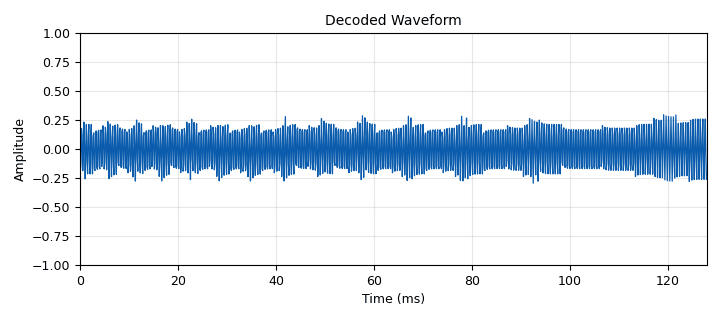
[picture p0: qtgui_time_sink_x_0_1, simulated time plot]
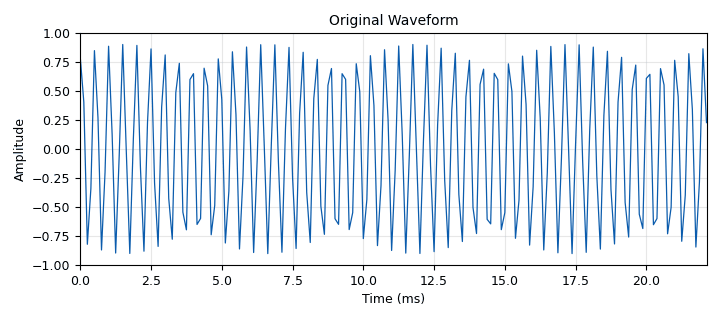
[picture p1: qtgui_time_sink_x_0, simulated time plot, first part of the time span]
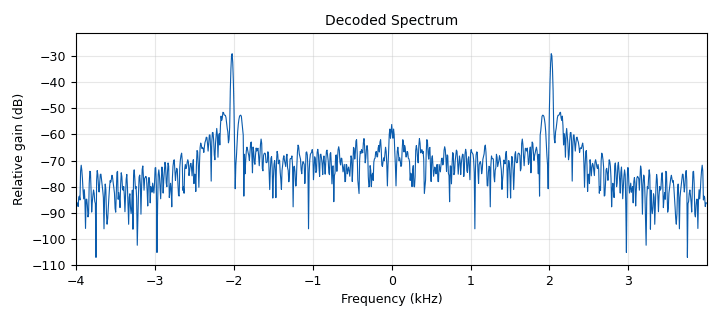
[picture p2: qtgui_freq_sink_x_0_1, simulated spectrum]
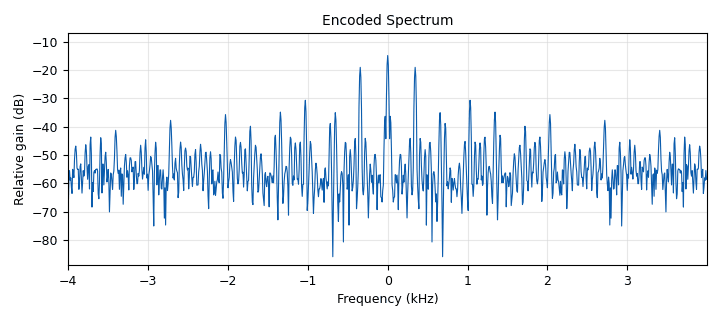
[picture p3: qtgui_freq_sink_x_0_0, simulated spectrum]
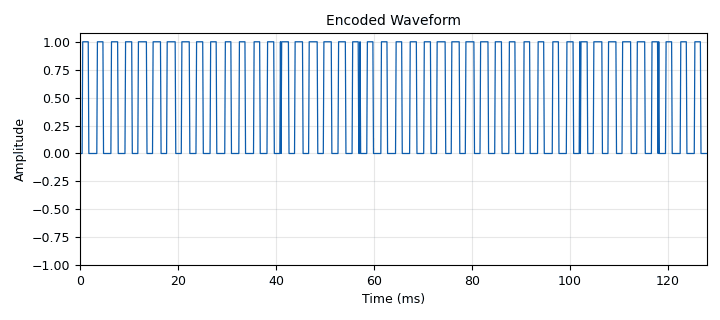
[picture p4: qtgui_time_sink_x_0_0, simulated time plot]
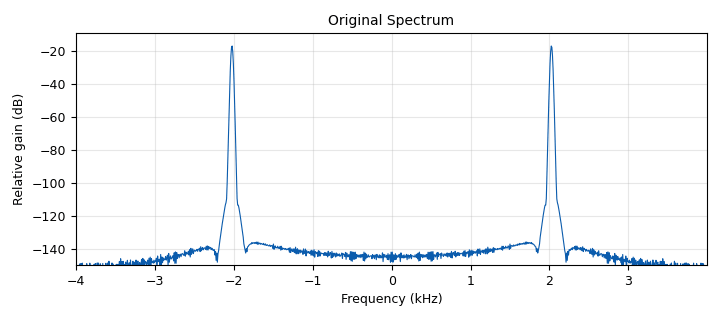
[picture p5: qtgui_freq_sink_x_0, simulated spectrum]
<?xml version='1.0' encoding='utf-8'?>
<flow_graph>
<block>
<key>variable</key>
<param><key>id</key><value>resample</value></param>
<param><key>value</key><value>8</value></param>
</block>
<block>
<key>variable</key>
<param><key>id</key><value>audio_rate</value></param>
<param><key>value</key><value>8000</value></param>
</block>
<block>
<key>variable</key>
<param><key>id</key><value>bw</value></param>
<param><key>value</key><value>0.5</value></param>
</block>
<block>
<key>import</key>
<param><key>id</key><value>import_0</value></param>
<param><key>import</key><value>import math</value></param>
</block>
<block>
<key>qtgui_tab_widget</key>
<param><key>id</key><value>displays</value></param>
<param><key>num_tabs</key><value>3</value></param>
<param><key>label0</key><value>Original</value></param>
<param><key>label1</key><value>Encoded</value></param>
<param><key>label2</key><value>Decoded</value></param>
</block>
<block>
<key>options</key>
<param><key>id</key><value>cvsd_sweep</value></param>
<param><key>title</key><value>CVSD Vocoder Test</value></param>
<param><key>generate_options</key><value>qt_gui</value></param>
<param><key>category</key><value>Custom</value></param>
</block>
<block>
<key>qtgui_time_sink_x</key>
<param><key>id</key><value>qtgui_time_sink_x_0_1</value></param>
<param><key>type</key><value>float</value></param>
<param><key>name</key><value>Decoded Waveform</value></param>
<param><key>size</key><value>1024</value></param>
<param><key>srate</key><value>audio_rate</value></param>
<param><key>gui_hint</key><value>displays@2:1,0,1,1</value></param>
<param><key>label1</key><value></value></param>
<param><key>color1</key><value>"blue"</value></param>
</block>
<block>
<key>vocoder_cvsd_decode_bf</key>
<param><key>id</key><value>vocoder_cvsd_decode_bf_0</value></param>
<param><key>resample</key><value>resample</value></param>
<param><key>bw</key><value>bw</value></param>
</block>
<block>
<key>qtgui_time_sink_x</key>
<param><key>id</key><value>qtgui_time_sink_x_0</value></param>
<param><key>type</key><value>float</value></param>
<param><key>name</key><value>Original Waveform</value></param>
<param><key>size</key><value>1024</value></param>
<param><key>srate</key><value>audio_rate</value></param>
<param><key>gui_hint</key><value>displays@0:1,0,1,1</value></param>
<param><key>label1</key><value></value></param>
<param><key>color1</key><value>"blue"</value></param>
</block>
<block>
<key>qtgui_freq_sink_x</key>
<param><key>id</key><value>qtgui_freq_sink_x_0_1</value></param>
<param><key>type</key><value>float</value></param>
<param><key>name</key><value>Decoded Spectrum</value></param>
<param><key>fftsize</key><value>1024</value></param>
<param><key>wintype</key><value>firdes.WIN_BLACKMAN_hARRIS</value></param>
<param><key>fc</key><value>0</value></param>
<param><key>bw</key><value>audio_rate</value></param>
<param><key>autoscale</key><value>True</value></param>
<param><key>gui_hint</key><value>displays@2:0,0,1,1</value></param>
</block>
<block>
<key>vocoder_cvsd_encode_fb</key>
<param><key>id</key><value>enc</value></param>
<param><key>resample</key><value>resample</value></param>
<param><key>bw</key><value>bw</value></param>
</block>
<block>
<key>blocks_packed_to_unpacked_xx</key>
<param><key>id</key><value>p2u</value></param>
<param><key>type</key><value>byte</value></param>
<param><key>bits_per_chunk</key><value>1</value></param>
<param><key>endianness</key><value>gr.GR_MSB_FIRST</value></param>
</block>
<block>
<key>blocks_throttle</key>
<param><key>id</key><value>throttle</value></param>
<param><key>type</key><value>float</value></param>
<param><key>samples_per_second</key><value>audio_rate</value></param>
</block>
<block>
<key>analog_sig_source_x</key>
<param><key>id</key><value>analog_sig_source_x_0</value></param>
<param><key>type</key><value>float</value></param>
<param><key>samp_rate</key><value>audio_rate</value></param>
<param><key>waveform</key><value>analog.GR_TRI_WAVE</value></param>
<param><key>freq</key><value>0.05</value></param>
<param><key>amp</key><value>0.5</value></param>
<param><key>offset</key><value>0</value></param>
</block>
<block>
<key>blocks_vco_f</key>
<param><key>id</key><value>vco</value></param>
<param><key>samp_rate</key><value>audio_rate</value></param>
<param><key>sensitivity</key><value>audio_rate*2*math.pi</value></param>
<param><key>amplitude</key><value>0.9</value></param>
</block>
<block>
<key>blocks_char_to_float</key>
<param><key>id</key><value>c2f</value></param>
<param><key>scale</key><value>1</value></param>
</block>
<block>
<key>qtgui_freq_sink_x</key>
<param><key>id</key><value>qtgui_freq_sink_x_0_0</value></param>
<param><key>type</key><value>float</value></param>
<param><key>name</key><value>Encoded Spectrum</value></param>
<param><key>fftsize</key><value>1024</value></param>
<param><key>wintype</key><value>firdes.WIN_BLACKMAN_hARRIS</value></param>
<param><key>fc</key><value>0</value></param>
<param><key>bw</key><value>audio_rate</value></param>
<param><key>autoscale</key><value>True</value></param>
<param><key>gui_hint</key><value>displays@1:0,0,1,1</value></param>
</block>
<block>
<key>qtgui_time_sink_x</key>
<param><key>id</key><value>qtgui_time_sink_x_0_0</value></param>
<param><key>type</key><value>float</value></param>
<param><key>name</key><value>Encoded Waveform</value></param>
<param><key>size</key><value>1024</value></param>
<param><key>srate</key><value>audio_rate</value></param>
<param><key>gui_hint</key><value>displays@1:1,0,1,1</value></param>
<param><key>label1</key><value></value></param>
<param><key>color1</key><value>"blue"</value></param>
</block>
<block>
<key>qtgui_freq_sink_x</key>
<param><key>id</key><value>qtgui_freq_sink_x_0</value></param>
<param><key>type</key><value>float</value></param>
<param><key>name</key><value>Original Spectrum</value></param>
<param><key>fftsize</key><value>1024</value></param>
<param><key>wintype</key><value>firdes.WIN_BLACKMAN_hARRIS</value></param>
<param><key>fc</key><value>0</value></param>
<param><key>bw</key><value>audio_rate</value></param>
<param><key>autoscale</key><value>True</value></param>
<param><key>gui_hint</key><value>displays@0:0,0,1,1</value></param>
</block>
<block>
<key>audio_sink</key>
<param><key>id</key><value>audio_sink</value></param>
<param><key>samp_rate</key><value>audio_rate</value></param>
</block>
<connection><source_block_id>vocoder_cvsd_decode_bf_0</source_block_id><sink_block_id>qtgui_time_sink_x_0_1</sink_block_id><source_key>0</source_key><sink_key>0</sink_key></connection>
<connection><source_block_id>throttle</source_block_id><sink_block_id>vco</sink_block_id><source_key>0</source_key><sink_key>0</sink_key></connection>
<connection><source_block_id>vco</source_block_id><sink_block_id>enc</sink_block_id><source_key>0</source_key><sink_key>0</sink_key></connection>
<connection><source_block_id>enc</source_block_id><sink_block_id>vocoder_cvsd_decode_bf_0</sink_block_id><source_key>0</source_key><sink_key>0</sink_key></connection>
<connection><source_block_id>vocoder_cvsd_decode_bf_0</source_block_id><sink_block_id>audio_sink</sink_block_id><source_key>0</source_key><sink_key>0</sink_key></connection>
<connection><source_block_id>enc</source_block_id><sink_block_id>p2u</sink_block_id><source_key>0</source_key><sink_key>0</sink_key></connection>
<connection><source_block_id>p2u</source_block_id><sink_block_id>c2f</sink_block_id><source_key>0</source_key><sink_key>0</sink_key></connection>
<connection><source_block_id>analog_sig_source_x_0</source_block_id><sink_block_id>throttle</sink_block_id><source_key>0</source_key><sink_key>0</sink_key></connection>
<connection><source_block_id>vco</source_block_id><sink_block_id>qtgui_freq_sink_x_0</sink_block_id><source_key>0</source_key><sink_key>0</sink_key></connection>
<connection><source_block_id>vco</source_block_id><sink_block_id>qtgui_time_sink_x_0</sink_block_id><source_key>0</source_key><sink_key>0</sink_key></connection>
<connection><source_block_id>c2f</source_block_id><sink_block_id>qtgui_time_sink_x_0_0</sink_block_id><source_key>0</source_key><sink_key>0</sink_key></connection>
<connection><source_block_id>c2f</source_block_id><sink_block_id>qtgui_freq_sink_x_0_0</sink_block_id><source_key>0</source_key><sink_key>0</sink_key></connection>
<connection><source_block_id>vocoder_cvsd_decode_bf_0</source_block_id><sink_block_id>qtgui_freq_sink_x_0_1</sink_block_id><source_key>0</source_key><sink_key>0</sink_key></connection>
</flow_graph>
